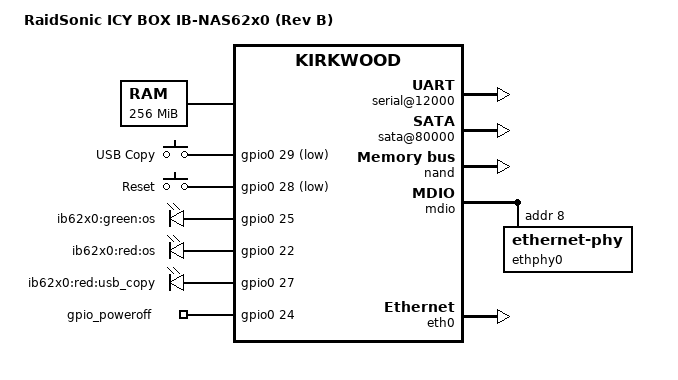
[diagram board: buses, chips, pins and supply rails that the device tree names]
/dts-v1/;

#include "kirkwood.dtsi"
#include "kirkwood-6281.dtsi"

/ {
	model = "RaidSonic ICY BOX IB-NAS62x0 (Rev B)";
	compatible = "raidsonic,ib-nas6210-b", "raidsonic,ib-nas6220-b", "raidsonic,ib-nas6210", "raidsonic,ib-nas6220", "raidsonic,ib-nas62x0", "marvell,kirkwood-88f6281", "marvell,kirkwood";

	memory {
		device_type = "memory";
		reg = <0x00000000 0x10000000>;
	};

	chosen {
		bootargs = "console=ttyS0,115200n8 earlyprintk";
		stdout-path = &uart0;
	};

	ocp@f1000000 {
		pinctrl: pin-controller@10000 {
			pmx_led_os_red: pmx-led-os-red {
				marvell,pins = "mpp22";
				marvell,function = "gpio";
			};
			pmx_power_off: pmx-power-off {
				marvell,pins = "mpp24";
				marvell,function = "gpio";
			};
			pmx_led_os_green: pmx-led-os-green {
				marvell,pins = "mpp25";
				marvell,function = "gpio";
			};
			pmx_led_usb_transfer: pmx-led-usb-transfer {
				marvell,pins = "mpp27";
				marvell,function = "gpio";
			};
			pmx_button_reset: pmx-button-reset {
				marvell,pins = "mpp28";
				marvell,function = "gpio";
			};
			pmx_button_usb_copy: pmx-button-usb-copy {
				marvell,pins = "mpp29";
				marvell,function = "gpio";
			};
		};

		serial@12000 {
			status = "okay";
		};

		sata@80000 {
			status = "okay";
			nr-ports = <2>;
		};
	};

	gpio_keys {
		compatible = "gpio-keys";
		#address-cells = <1>;
		#size-cells = <0>;
		pinctrl-0 = <&pmx_button_reset &pmx_button_usb_copy>;
		pinctrl-names = "default";

		copy {
			label = "USB Copy";
			linux,code = <KEY_COPY>;
			gpios = <&gpio0 29 GPIO_ACTIVE_LOW>;
		};
		reset {
			label = "Reset";
			linux,code = <KEY_RESTART>;
			gpios = <&gpio0 28 GPIO_ACTIVE_LOW>;
		};
	};

	gpio-leds {
		compatible = "gpio-leds";
		pinctrl-0 = <&pmx_led_os_red &pmx_led_os_green
			     &pmx_led_usb_transfer>;
		pinctrl-names = "default";

		green-os {
			label = "ib62x0:green:os";
			gpios = <&gpio0 25 GPIO_ACTIVE_HIGH>;
			default-state = "keep";
		};
		red-os {
			label = "ib62x0:red:os";
			gpios = <&gpio0 22 GPIO_ACTIVE_HIGH>;
		};
		usb-copy {
			label = "ib62x0:red:usb_copy";
			gpios = <&gpio0 27 GPIO_ACTIVE_HIGH>;
		};
	};

	gpio_poweroff {
		compatible = "gpio-poweroff";
		pinctrl-0 = <&pmx_power_off>;
		pinctrl-names = "default";
		gpios = <&gpio0 24 GPIO_ACTIVE_HIGH>;
	};
};

&nand {
	status = "okay";

	partition@0 {
		label = "u-boot";
		reg = <0x0000000 0xe0000>;
	};

	partition@e0000 {
		label = "u-boot environment";
		reg = <0xe0000 0x100000>;
	};

	partition@100000 {
		label = "uImage";
		reg = <0x0100000 0x600000>;
	};

	partition@700000 {
		label = "root";
		reg = <0x0700000 0xf900000>;
	};

};

&mdio {
	status = "okay";

	ethphy0: ethernet-phy@8 {
		reg = <8>;
	};
};

&eth0 {
	status = "okay";

	ethernet0-port@0 {
		phy-handle = <&ethphy0>;
	};
};
